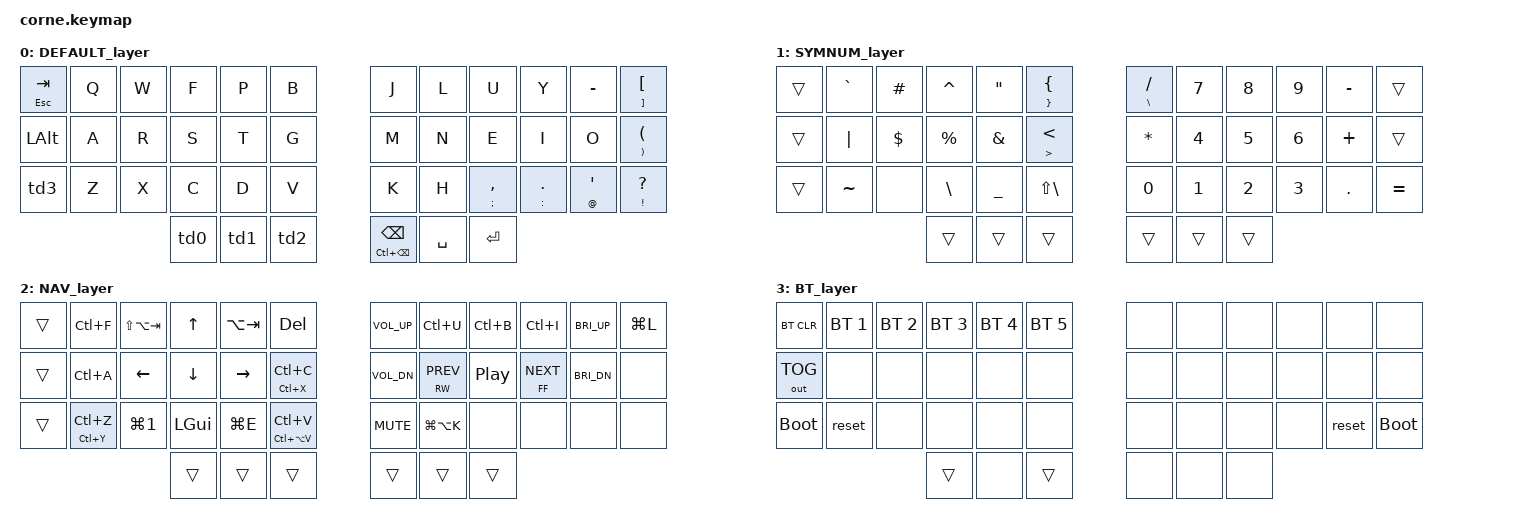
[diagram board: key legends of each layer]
/*
 * Copyright (c) 2020 The ZMK Contributors
 *
 * SPDX-License-Identifier: MIT
 */

#include <behaviors.dtsi>
#include <dt-bindings/zmk/keys.h>
#include <dt-bindings/zmk/bt.h>
#include <dt-bindings/zmk/outputs.h>

#define DEFAULT 0
#define SYMNUM  1
#define NAV     2
#define BT      3


&mt {
    flavor = "tap-preferred";
    tapping_term_ms = <400>;
};
/ {
        behaviours {
                lsdot: leftshift_dot {
                    compatible = "zmk,behavior-mod-morph";
                    label = "LS_DOT";
                    #binding-cells = <0>;
                    bindings = <&kp DOT>, <&kp DOT>;
                    mods = <(MOD_LSFT)>;
                };
                td0: tap_dance_0 {
                    compatible = "zmk,behavior-tap-dance";
                    label = "TAP_DANCE_0";
                    #binding-cells = <0>;
                    tapping-term-ms = <200>;
                    bindings = <&mo SYMNUM>, <&tog SYMNUM>;
                };
                td1: tap_dance_1 {
                    compatible = "zmk,behavior-tap-dance";
                    label = "TAP_DANCE_1";
                    #binding-cells = <0>;
                    tapping-term-ms = <200>;
                    bindings = <&kp LSHFT>, <&kp CAPS>;
                };
                td2: tap_dance_2 {
                    compatible = "zmk,behavior-tap-dance";
                    label = "TAP_DANCE_2";
                    #binding-cells = <0>;
                    tapping-term-ms = <200>;
                    bindings = <&mo NAV>, <&tog NAV>;
                };
                td3: tap_dance_3 {
                    compatible = "zmk,behavior-tap-dance";
                    label = "TAP_DANCE_3";
                    #binding-cells = <0>;
                    tapping-term-ms = <200>;
                    bindings = <&kp LCTRL>, <&kp LG(D)>;
                };
            };
        conditional_layers {
                compatible = "zmk,conditional-layers";
                BT {
                if-layers = <1 2>;
                then-layer = <3>;
                };
            };

        keymap {
                compatible = "zmk,keymap";

                DEFAULT_layer {
// -----------------------------------------------------------------------------------------
// |  TAB |  Q  |  W  |  F   |  P  |  B  |   |  J  |  L   |  U  |  Y  |  -  |sqbrckt|
// |  ALT |  A  |  R  |  S   |  T  |  G  |   |  M  |  N   |  E  |  I  |  O  |parenth|
// | CTRL |  Z  |  X  |  C   |  D  |  V  |   |  K  |  H   |  ,  |  .  |  '  |  ?    |
//                    |SYMNUM| SHFT| NAV |   |BSPC | SPC  | ENT |
                        bindings = <
   &mt ESC TAB  &kp Q    &kp W    &kp F    &kp P    &kp B         &kp J               &kp L      &kp U             &kp Y             &kp MINUS      &mt RBKT LBKT
   &kp LALT     &kp A    &kp R    &kp S    &kp T    &kp G         &kp M               &kp N      &kp E             &kp I             &kp O          &mt RPAR LPAR
   &td3         &kp Z    &kp X    &kp C    &kp D    &kp V         &kp K               &kp H      &mt SEMI COMMA    &mt COLON DOT     &mt AT SQT     &mt EXCL QMARK
                                  &td0     &td1     &td2          &mt LC(BSPC) BSPC   &kp SPC    &kp RET
                        >;
                };
                SYMNUM_layer {
// -----------------------------------------------------------------------------------------
// |  TAB |  `  |  £  |  ^  |  @  |wavybkt|   | /   | 7   | 8   | 9   |  -  |sqbrckt|
// |  ALT |  ~  |  $  |  %  |  &  |  <    |   | *   | 4   | 5   | 6   |  +  |parenth|
// | CTRL |  ¬  |     |  #  |  _  |PIPE   |   | 0   | 1   | 2   | 3   |  .  |  =    |
//                    | NUM |SHFT | NAV   |   |BCKSP| SPC | ENT |
                        bindings = <
   &trans    &kp GRAVE     &kp POUND   &kp CARET  &kp DQT     &mt RBRC LBRC         &mt BSLH SLASH    &kp N7   &kp N8   &kp N9    &kp MINUS   &trans
   &trans    &kp PIPE      &kp DLLR    &kp PRCNT  &kp AMPS    &mt GT LT             &kp STAR          &kp N4   &kp N5   &kp N6    &kp PLUS    &trans
   &trans    &kp TILDE     &none       &kp BSLH   &kp UNDER   &kp LS(BSLH)          &kp N0            &kp N1   &kp N2   &kp N3    &kp DOT     &kp EQUAL
                                       &trans     &trans      &trans                &trans            &trans   &trans
                        >;
                };
                NAV_layer {
// -----------------------------------------------------------------------------------------
// | TAB  |FIND |PRVAPP| UP   |NXTAPP|DEL  |   |VOL+ |LC+U   |LC+B |LC+I| BR+ |LOCK|
// | ALT  |ALL  |LEFT  | DOWN |RIGHT |COPY |   |VOL- |RWND   |PLAY |FFWD| BR- |    |
// | CTRL |UNDO |WIN+1 | WIN  |WIN+E |PASTE|   |MUTE |MICMUTE|     |    |     |    |
//                     | NUM  | SHFT |NAV  |   |BCKSP| SPC   | ENT |
                        bindings = <
   &trans    &kp LC(F)        &kp LS(LA(TAB))   &kp UP     &kp LA(TAB)    &kp DEL                     &kp C_VOL_UP    &kp LC(U)        &kp LC(B)  &kp LC(I)        &kp C_BRI_UP  &kp LG(L)
   &trans    &kp LC(A)        &kp LEFT          &kp DOWN   &kp RIGHT      &mt LC(X) LC(C)             &kp C_VOL_DN    &mt C_RW C_PREV  &kp C_PP   &mt C_FF C_NEXT  &kp C_BRI_DN  &none 
   &trans    &mt LC(Y) LC(Z)  &kp LG(N1)        &kp LGUI   &kp LG(E)      &mt LC(LA(V)) LC(V)         &kp C_MUTE      &kp LG(LA(K))    &none      &none            &none         &none 
                    	                        &trans     &trans         &trans                      &trans          &trans           &trans
                        >;
                };
                BT_layer {
// -----------------------------------------------------------------------------------------
// |BTCLR     | BT1 | BT2 | BT3 | BT4 | BT5 |   |     |     |     |     |     |          |
// |BT_TOG    |     |     |     |     |     |   |     |     |     |     |     |          |
// |BOOTLOADER|RESET|     |     |     |     |   |     |     |     |     |RESET|BOOTLOADER|
//                    |     |     |     |   |     |     |     |
                        bindings = <
   &bt BT_CLR    &bt BT_SEL 1   &bt BT_SEL 2    &bt BT_SEL 3    &bt BT_SEL 4    &bt BT_SEL 5        &none &none &none &none &none  &none 
   &out OUT_TOG  &none          &none           &none           &none           &none               &none &none &none &none &none  &none
   &bootloader   &reset         &none           &none           &none           &none               &none &none &none &none &reset &bootloader
                                                &trans          &none           &trans              &none &none &none
                         >;
                };
        };
};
